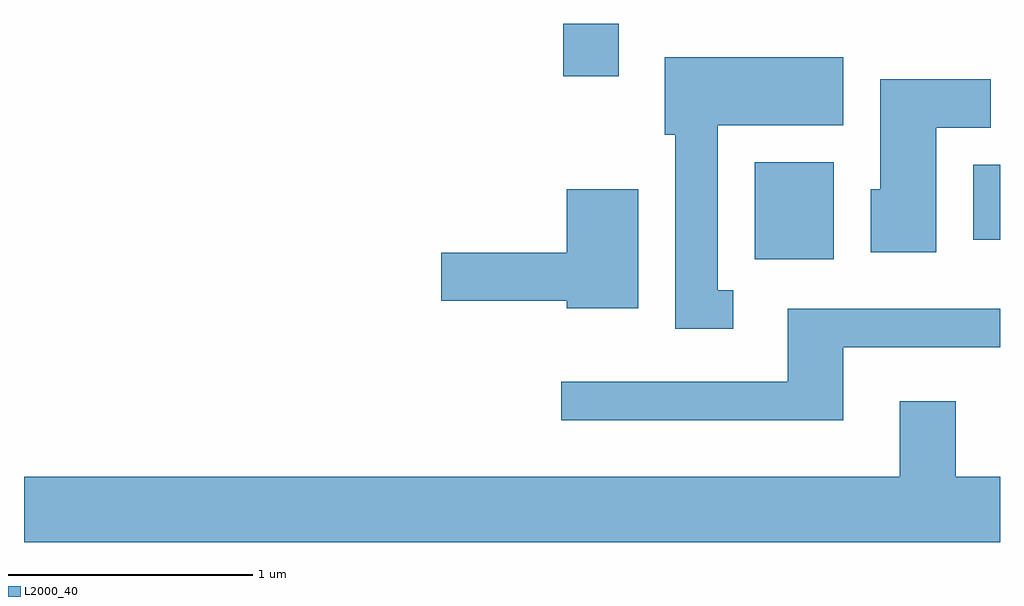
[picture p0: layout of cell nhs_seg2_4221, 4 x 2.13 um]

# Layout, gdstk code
import gdstk
lib = gdstk.Library(unit=1e-6, precision=1e-09)
def R(c, l, rs):  # rectangles x0, y0, x1, y1
    for r in rs: c.add(gdstk.rectangle(r[:2], r[2:], *l))
def P(c, l, *ps):  # polygons
    for p in ps: c.add(gdstk.Polygon(p, *l))
L2000_40 = (2000, 40)

nhs_seg2_4221 = lib.new_cell('nhs_seg2_4221')
R(nhs_seg2_4221, L2000_40, [(312.606,1022.836,312.929,1023.234), (313.501,1022.916,313.611,1023.224), (311.821,1023.586,312.049,1023.802)])
P(nhs_seg2_4221, L2000_40, [(312.518,1022.709),(312.454,1022.709),(312.454,1023.386),(312.969,1023.386),(312.969,1023.664),(312.236,1023.664),(312.236,1023.346),(312.281,1023.346),(312.281,1022.551),(312.518,1022.551)],
  [(313.349,1023.376),(313.574,1023.376),(313.574,1023.574),(313.121,1023.574),(313.121,1023.124),(313.081,1023.124),(313.081,1022.866),(313.349,1022.866)],
  [(312.129,1023.124),(311.836,1023.124),(311.836,1022.864),(311.321,1022.864),(311.321,1022.666),(311.836,1022.666),(311.836,1022.636),(312.129,1022.636)],
  [(312.969,1022.476),(313.611,1022.476),(313.611,1022.634),(312.741,1022.634),(312.741,1022.334),(311.813,1022.334),(311.813,1022.176),(312.969,1022.176)],
  [(313.611,1021.944),(313.429,1021.944),(313.429,1022.254),(313.201,1022.254),(313.201,1021.944),(309.611,1021.944),(309.611,1021.676),(313.611,1021.676)])

lib.write_gds('nhs_seg2_4221.gds')
